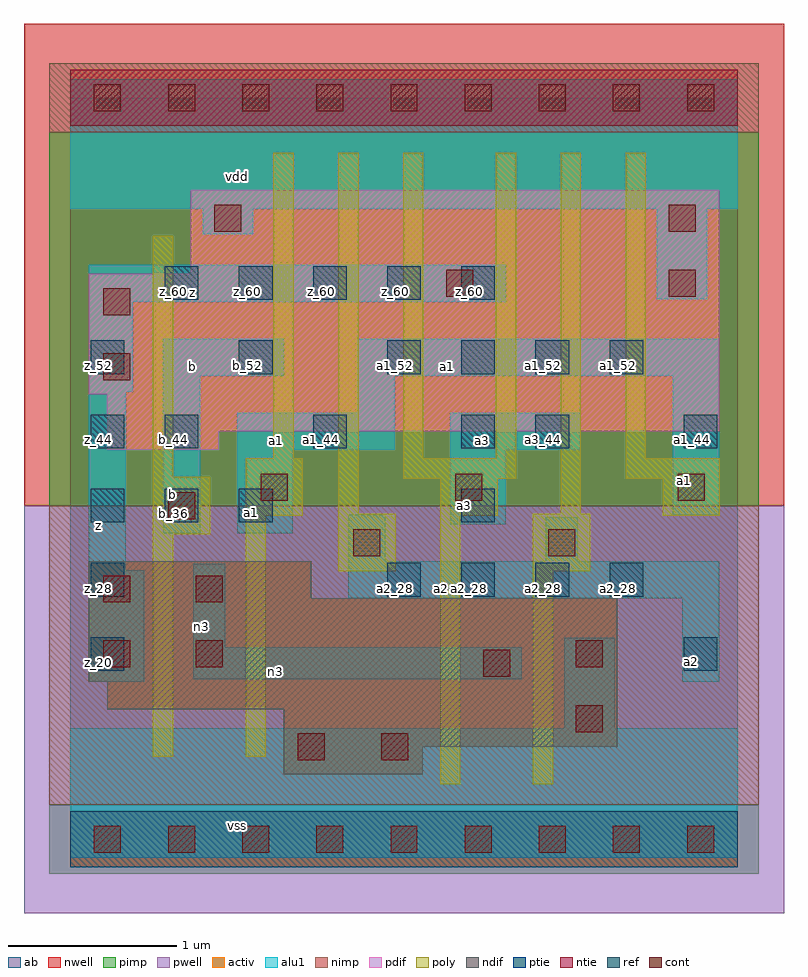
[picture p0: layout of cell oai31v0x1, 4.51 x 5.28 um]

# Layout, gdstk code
import gdstk
lib = gdstk.Library(unit=1e-6, precision=2.5e-09)
def R(c, l, rs):  # rectangles x0, y0, x1, y1
    for r in rs: c.add(gdstk.rectangle(r[:2], r[2:], *l))
def A(c, l, x, y, w, h, nx, ny, dx, dy):  # array of equal rectangles
    R(c, l, [(x+i*dx, y+j*dy, x+i*dx+w, y+j*dy+h) for i in range(nx) for j in range(ny)])
ndif = (3, 0)
pdif = (4, 0)
ntie = (5, 0)
ptie = (6, 0)
ref = (24, 0)
cont = (25, 0)
pwell = (41, 0)
nwell = (42, 0)
activ = (43, 0)
pimp = (44, 0)
nimp = (45, 0)
poly = (46, 0)
alu1 = (49, 0)
ab = (63, 0)

oai31v0x1 = lib.new_cell('oai31v0x1')
R(oai31v0x1, ndif, [(1.265,0.385,2.09,0.55), (1.265,0.55,3.245,0.77), (0.22,0.77,3.245,0.935), (0.11,0.935,3.245,1.43), (0.11,1.43,1.43,1.65)])
R(oai31v0x1, pdif, [(0.22,2.31,0.88,2.42), (0.22,2.42,3.85,2.64), (0.11,2.64,3.85,3.355), (0.715,3.355,3.85,3.85)])
R(oai31v0x1, ntie, [(0,4.235,3.96,4.565)])
R(oai31v0x1, ptie, [(0,-0.165,3.96,0.165)])
A(oai31v0x1, ref, 1.88, 1.44, 0.2, 0.2, 4, 1, 0.44, 0)
A(oai31v0x1, ref, 0.12, 1.88, 0.2, 0.2, 3, 1, 0.44, 0)
A(oai31v0x1, ref, 0.56, 2.32, 0.2, 0.2, 3, 1, 0.88, 0)
A(oai31v0x1, ref, 0.12, 2.76, 0.2, 0.2, 3, 1, 0.88, 0)
A(oai31v0x1, ref, 2.32, 2.76, 0.2, 0.2, 3, 1, 0.44, 0)
A(oai31v0x1, ref, 0.56, 3.2, 0.2, 0.2, 5, 1, 0.44, 0)
R(oai31v0x1, ref, [(0.12,1,0.32,1.2), (3.64,1,3.84,1.2), (0.12,1.44,0.32,1.64), (2.32,1.88,2.52,2.08), (0.12,2.32,0.32,2.52), (2.76,2.32,2.96,2.52), (3.64,2.32,3.84,2.52)])
A(oai31v0x1, cont, 0.14, -0.08, 0.16, 0.16, 9, 2, 0.44, 4.4)
R(oai31v0x1, cont, [(1.35,0.47,1.51,0.63), (1.845,0.47,2.005,0.63), (3,0.635,3.16,0.795), (2.45,0.965,2.61,1.125), (0.195,1.02,0.355,1.18), (0.745,1.02,0.905,1.18), (3,1.02,3.16,1.18), (0.195,1.405,0.355,1.565), (0.745,1.405,0.905,1.565), (1.68,1.68,1.84,1.84), (2.835,1.68,2.995,1.84), (0.58,1.9,0.74,2.06), (1.13,2.01,1.29,2.17), (2.285,2.01,2.445,2.17), (3.605,2.01,3.765,2.17), (0.195,2.725,0.355,2.885), (0.195,3.11,0.355,3.27), (2.23,3.22,2.39,3.38), (3.55,3.22,3.71,3.38), (0.855,3.605,1.015,3.765), (3.55,3.605,3.71,3.765)])
R(oai31v0x1, pwell, [(-0.275,-0.44,4.235,1.98)])
R(oai31v0x1, nwell, [(-0.275,1.98,4.235,4.84)])
R(oai31v0x1, activ, [(0,-0.165,3.96,0.165), (1.265,0.385,2.09,0.55), (1.265,0.55,3.245,0.77), (0.22,0.77,3.245,0.935), (0.11,0.935,3.245,1.43), (0.11,1.43,1.43,1.65), (0.22,2.31,0.88,2.42), (0.22,2.42,3.85,2.64), (0.11,2.64,3.85,3.355), (0.715,3.355,3.85,3.85), (0,4.235,3.96,4.565)])
R(oai31v0x1, pimp, [(-0.125,-0.205,4.085,0.205), (-0.125,1.98,4.085,4.195)])
R(oai31v0x1, nimp, [(-0.125,0.205,4.085,1.98), (-0.125,4.195,4.085,4.605)])
R(oai31v0x1, poly, [(2.195,0.325,2.315,1.92), (2.745,0.325,2.865,1.59), (0.49,0.49,0.61,1.81), (1.04,0.49,1.16,1.92), (1.59,1.59,1.93,1.93), (2.745,1.59,3.085,1.93), (0.49,1.81,0.83,2.15), (1.04,1.92,1.38,2.26), (2.195,1.92,2.535,2.14), (3.515,1.92,3.855,2.14), (1.59,1.93,1.71,4.075), (2.91,1.93,3.03,4.075), (1.975,2.14,2.645,2.26), (3.295,2.14,3.855,2.26), (0.49,2.15,0.61,3.58), (1.205,2.26,1.325,4.075), (1.975,2.26,2.095,4.075), (2.525,2.26,2.645,4.075), (3.295,2.26,3.415,4.075)])
R(oai31v0x1, alu1, [(0,-0.11,3.96,0.66), (2.93,0.66,3.23,1.195), (0.11,0.935,0.44,1.595), (3.63,0.935,3.85,1.43), (0.73,0.95,2.68,1.14), (0.73,1.14,0.92,1.635), (1.65,1.43,3.85,1.65), (0.11,1.595,0.33,2.655), (1.65,1.65,1.87,1.925), (2.82,1.65,3.01,1.91), (0.55,1.815,0.77,2.75), (0.99,1.815,1.32,2.31), (2.255,1.87,2.585,2.31), (3.575,1.925,3.85,2.75), (0.99,2.31,1.925,2.53), (2.255,2.31,3.025,2.53), (1.705,2.53,1.925,2.75), (0.11,2.655,0.37,3.19), (0.55,2.75,1.265,2.97), (1.705,2.75,3.85,2.97), (0.11,3.19,2.585,3.41), (3.48,3.205,3.78,3.74), (0.785,3.59,1.085,3.74), (0,3.74,3.96,4.51)])
R(oai31v0x1, ab, [(0,0,3.96,4.4)])
oai31v0x1.add(gdstk.Label('vss', (0.99,0.0825), layer=49, texttype=0))
oai31v0x1.add(gdstk.Label('a2', (3.685,1.0575), layer=49, texttype=0))
oai31v0x1.add(gdstk.Label('n3', (1.2175,0.9975), layer=49, texttype=0))
oai31v0x1.add(gdstk.Label('a2', (2.2,1.485), layer=49, texttype=0))
oai31v0x1.add(gdstk.Label('n3', (0.7775,1.2625), layer=49, texttype=0))
oai31v0x1.add(gdstk.Label('a1', (3.6425,2.13), layer=49, texttype=0))
oai31v0x1.add(gdstk.Label('a3', (2.3375,1.98), layer=49, texttype=0))
oai31v0x1.add(gdstk.Label('a1', (1.0725,1.9375), layer=49, texttype=0))
oai31v0x1.add(gdstk.Label('a3', (2.4475,2.365), layer=49, texttype=0))
oai31v0x1.add(gdstk.Label('a1', (1.2225,2.365), layer=49, texttype=0))
oai31v0x1.add(gdstk.Label('b', (0.605,2.0475), layer=49, texttype=0))
oai31v0x1.add(gdstk.Label('z', (0.165,1.86), layer=49, texttype=0))
oai31v0x1.add(gdstk.Label('a1', (2.24,2.805), layer=49, texttype=0))
oai31v0x1.add(gdstk.Label('b', (0.7275,2.805), layer=49, texttype=0))
oai31v0x1.add(gdstk.Label('z', (0.7275,3.245), layer=49, texttype=0))
oai31v0x1.add(gdstk.Label('vdd', (0.99,3.9325), layer=49, texttype=0))
oai31v0x1.add(gdstk.Label('b_36', (0.61,1.93), layer=24, texttype=0))
oai31v0x1.add(gdstk.Label('b_44', (0.61,2.37), layer=24, texttype=0))
oai31v0x1.add(gdstk.Label('z_60', (0.61,3.25), layer=24, texttype=0))
oai31v0x1.add(gdstk.Label('a1_36', (1.05,1.93), layer=24, texttype=0))
oai31v0x1.add(gdstk.Label('b_52', (1.05,2.81), layer=24, texttype=0))
oai31v0x1.add(gdstk.Label('z_60', (1.05,3.25), layer=24, texttype=0))
oai31v0x1.add(gdstk.Label('a1_44', (1.49,2.37), layer=24, texttype=0))
oai31v0x1.add(gdstk.Label('z_60', (1.49,3.25), layer=24, texttype=0))
oai31v0x1.add(gdstk.Label('a2_28', (1.93,1.49), layer=24, texttype=0))
oai31v0x1.add(gdstk.Label('a1_52', (1.93,2.81), layer=24, texttype=0))
oai31v0x1.add(gdstk.Label('z_60', (1.93,3.25), layer=24, texttype=0))
oai31v0x1.add(gdstk.Label('z_20', (0.17,1.05), layer=24, texttype=0))
oai31v0x1.add(gdstk.Label('z_28', (0.17,1.49), layer=24, texttype=0))
oai31v0x1.add(gdstk.Label('z_36', (0.17,1.93), layer=24, texttype=0))
oai31v0x1.add(gdstk.Label('z_44', (0.17,2.37), layer=24, texttype=0))
oai31v0x1.add(gdstk.Label('z_52', (0.17,2.81), layer=24, texttype=0))
oai31v0x1.add(gdstk.Label('a2_28', (2.37,1.49), layer=24, texttype=0))
oai31v0x1.add(gdstk.Label('a3_36', (2.37,1.93), layer=24, texttype=0))
oai31v0x1.add(gdstk.Label('a3_44', (2.37,2.37), layer=24, texttype=0))
oai31v0x1.add(gdstk.Label('a1_52', (2.37,2.81), layer=24, texttype=0))
oai31v0x1.add(gdstk.Label('z_60', (2.37,3.25), layer=24, texttype=0))
oai31v0x1.add(gdstk.Label('a2_28', (2.81,1.49), layer=24, texttype=0))
oai31v0x1.add(gdstk.Label('a3_44', (2.81,2.37), layer=24, texttype=0))
oai31v0x1.add(gdstk.Label('a1_52', (2.81,2.81), layer=24, texttype=0))
oai31v0x1.add(gdstk.Label('a2_28', (3.25,1.49), layer=24, texttype=0))
oai31v0x1.add(gdstk.Label('a1_52', (3.25,2.81), layer=24, texttype=0))
oai31v0x1.add(gdstk.Label('a2_20', (3.69,1.05), layer=24, texttype=0))
oai31v0x1.add(gdstk.Label('a1_44', (3.69,2.37), layer=24, texttype=0))

lib.write_gds('oai31v0x1.gds')
